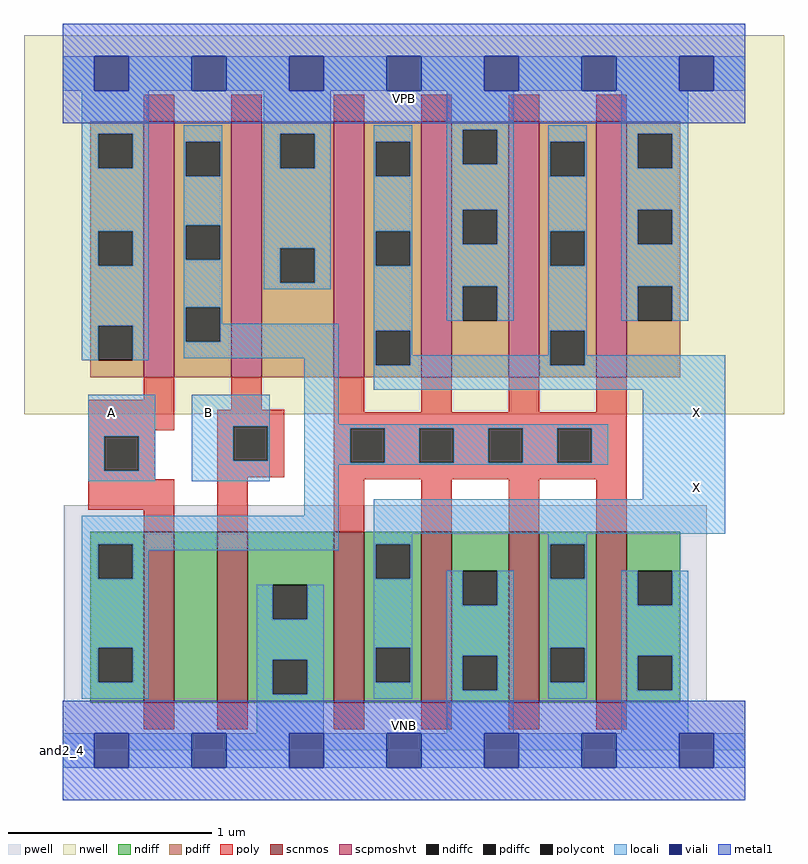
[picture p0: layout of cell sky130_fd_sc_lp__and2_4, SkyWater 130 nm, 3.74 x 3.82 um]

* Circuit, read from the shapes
.subckt sky130_fd_sc_lp__and2_4 A B VGND VNB VPB VPWR X
XM1 n1 A n2 VNB sky130_fd_pr__nfet_01v8 w=0.84 l=0.15
XM2 VGND B n1 VNB sky130_fd_pr__nfet_01v8 w=0.84 l=0.15
XM3 X n2 VGND VNB sky130_fd_pr__nfet_01v8 w=0.84 l=0.15 m=4
XM4 n2 A VPWR VPB sky130_fd_pr__pfet_01v8_hvt w=1.26 l=0.15
XM5 VPWR B n2 VPB sky130_fd_pr__pfet_01v8_hvt w=1.26 l=0.15
XM6 X n2 VPWR VPB sky130_fd_pr__pfet_01v8_hvt w=1.26 l=0.15 m=4
.ends

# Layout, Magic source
magic
tech sky130A
magscale 1 2
<< nwell >>
rect -38 331 710 704
<< pwell >>
rect 1 49 634 241
rect 0 0 672 49
<< scnmos >>
rect 80 47 110 215
rect 152 47 182 215
rect 267 47 297 215
rect 353 47 383 215
rect 439 47 469 215
rect 525 47 555 215
<< scpmoshvt >>
rect 80 367 110 619
rect 166 367 196 619
rect 267 367 297 619
rect 353 367 383 619
rect 439 367 469 619
rect 525 367 555 619
<< ndiff >>
rect 27 203 80 215
rect 27 169 35 203
rect 69 169 80 203
rect 27 101 80 169
rect 27 67 35 101
rect 69 67 80 101
rect 27 47 80 67
rect 110 47 152 215
rect 182 163 267 215
rect 182 129 207 163
rect 241 129 267 163
rect 182 89 267 129
rect 182 55 207 89
rect 241 55 267 89
rect 182 47 267 55
rect 297 203 353 215
rect 297 169 308 203
rect 342 169 353 203
rect 297 101 353 169
rect 297 67 308 101
rect 342 67 353 101
rect 297 47 353 67
rect 383 177 439 215
rect 383 143 394 177
rect 428 143 439 177
rect 383 93 439 143
rect 383 59 394 93
rect 428 59 439 93
rect 383 47 439 59
rect 469 203 525 215
rect 469 169 480 203
rect 514 169 525 203
rect 469 101 525 169
rect 469 67 480 101
rect 514 67 525 101
rect 469 47 525 67
rect 555 177 608 215
rect 555 143 566 177
rect 600 143 608 177
rect 555 93 608 143
rect 555 59 566 93
rect 600 59 608 93
rect 555 47 608 59
<< pdiff >>
rect 27 607 80 619
rect 27 573 35 607
rect 69 573 80 607
rect 27 511 80 573
rect 27 477 35 511
rect 69 477 80 511
rect 27 418 80 477
rect 27 384 35 418
rect 69 384 80 418
rect 27 367 80 384
rect 110 599 166 619
rect 110 565 121 599
rect 155 565 166 599
rect 110 517 166 565
rect 110 483 121 517
rect 155 483 166 517
rect 110 436 166 483
rect 110 402 121 436
rect 155 402 166 436
rect 110 367 166 402
rect 196 607 267 619
rect 196 573 214 607
rect 248 573 267 607
rect 196 494 267 573
rect 196 460 214 494
rect 248 460 267 494
rect 196 367 267 460
rect 297 599 353 619
rect 297 565 308 599
rect 342 565 353 599
rect 297 511 353 565
rect 297 477 308 511
rect 342 477 353 511
rect 297 413 353 477
rect 297 379 308 413
rect 342 379 353 413
rect 297 367 353 379
rect 383 611 439 619
rect 383 577 394 611
rect 428 577 439 611
rect 383 532 439 577
rect 383 498 394 532
rect 428 498 439 532
rect 383 457 439 498
rect 383 423 394 457
rect 428 423 439 457
rect 383 367 439 423
rect 469 599 525 619
rect 469 565 480 599
rect 514 565 525 599
rect 469 511 525 565
rect 469 477 480 511
rect 514 477 525 511
rect 469 413 525 477
rect 469 379 480 413
rect 514 379 525 413
rect 469 367 525 379
rect 555 607 608 619
rect 555 573 566 607
rect 600 573 608 607
rect 555 532 608 573
rect 555 498 566 532
rect 600 498 608 532
rect 555 457 608 498
rect 555 423 566 457
rect 600 423 608 457
rect 555 367 608 423
<< ndiffc >>
rect 35 169 69 203
rect 35 67 69 101
rect 207 129 241 163
rect 207 55 241 89
rect 308 169 342 203
rect 308 67 342 101
rect 394 143 428 177
rect 394 59 428 93
rect 480 169 514 203
rect 480 67 514 101
rect 566 143 600 177
rect 566 59 600 93
<< pdiffc >>
rect 35 573 69 607
rect 35 477 69 511
rect 35 384 69 418
rect 121 565 155 599
rect 121 483 155 517
rect 121 402 155 436
rect 214 573 248 607
rect 214 460 248 494
rect 308 565 342 599
rect 308 477 342 511
rect 308 379 342 413
rect 394 577 428 611
rect 394 498 428 532
rect 394 423 428 457
rect 480 565 514 599
rect 480 477 514 511
rect 480 379 514 413
rect 566 573 600 607
rect 566 498 600 532
rect 566 423 600 457
<< poly >>
rect 80 619 110 645
rect 166 619 196 645
rect 267 619 297 645
rect 353 619 383 645
rect 439 619 469 645
rect 525 619 555 645
rect 80 345 110 367
rect 25 315 110 345
rect 166 335 196 367
rect 152 319 218 335
rect 25 309 91 315
rect 25 275 41 309
rect 75 275 91 309
rect 25 267 91 275
rect 152 285 168 319
rect 202 285 218 319
rect 152 269 218 285
rect 267 333 297 367
rect 353 333 383 367
rect 439 333 469 367
rect 525 333 555 367
rect 267 317 555 333
rect 267 283 283 317
rect 317 283 351 317
rect 385 283 419 317
rect 453 283 487 317
rect 521 283 555 317
rect 25 237 110 267
rect 80 215 110 237
rect 152 215 182 269
rect 267 267 555 283
rect 267 215 297 267
rect 353 215 383 267
rect 439 215 469 267
rect 525 215 555 267
rect 80 21 110 47
rect 152 21 182 47
rect 267 21 297 47
rect 353 21 383 47
rect 439 21 469 47
rect 525 21 555 47
<< polycont >>
rect 41 275 75 309
rect 168 285 202 319
rect 283 283 317 317
rect 351 283 385 317
rect 419 283 453 317
rect 487 283 521 317
<< locali >>
rect 0 649 31 683
rect 65 649 127 683
rect 161 649 223 683
rect 257 649 319 683
rect 353 649 415 683
rect 449 649 511 683
rect 545 649 607 683
rect 641 649 672 683
rect 19 607 85 649
rect 19 573 35 607
rect 69 573 85 607
rect 19 511 85 573
rect 19 477 35 511
rect 69 477 85 511
rect 19 418 85 477
rect 19 384 35 418
rect 69 384 85 418
rect 119 599 157 615
rect 119 565 121 599
rect 155 565 157 599
rect 119 517 157 565
rect 119 483 121 517
rect 155 483 157 517
rect 119 436 157 483
rect 198 607 264 649
rect 198 573 214 607
rect 248 573 264 607
rect 198 494 264 573
rect 198 460 214 494
rect 248 460 264 494
rect 198 454 264 460
rect 306 599 344 615
rect 306 565 308 599
rect 342 565 344 599
rect 306 511 344 565
rect 306 477 308 511
rect 342 477 344 511
rect 119 402 121 436
rect 155 420 157 436
rect 155 402 272 420
rect 119 386 272 402
rect 25 309 91 350
rect 25 275 41 309
rect 75 275 91 309
rect 25 265 91 275
rect 127 319 204 350
rect 127 285 168 319
rect 202 285 204 319
rect 127 265 204 285
rect 238 321 272 386
rect 306 413 344 477
rect 378 611 444 649
rect 378 577 394 611
rect 428 577 444 611
rect 378 532 444 577
rect 378 498 394 532
rect 428 498 444 532
rect 378 457 444 498
rect 378 423 394 457
rect 428 423 444 457
rect 478 599 516 615
rect 478 565 480 599
rect 514 565 516 599
rect 478 511 516 565
rect 478 477 480 511
rect 514 477 516 511
rect 306 379 308 413
rect 342 389 344 413
rect 478 413 516 477
rect 550 607 616 649
rect 550 573 566 607
rect 600 573 616 607
rect 550 532 616 573
rect 550 498 566 532
rect 600 498 616 532
rect 550 457 616 498
rect 550 423 566 457
rect 600 423 616 457
rect 478 389 480 413
rect 342 379 480 389
rect 514 389 516 413
rect 514 379 652 389
rect 306 355 652 379
rect 238 317 537 321
rect 238 283 283 317
rect 317 283 351 317
rect 385 283 419 317
rect 453 283 487 317
rect 521 283 537 317
rect 238 281 537 283
rect 238 231 272 281
rect 571 247 652 355
rect 19 203 272 231
rect 19 169 35 203
rect 69 197 272 203
rect 306 213 652 247
rect 306 203 344 213
rect 69 169 85 197
rect 19 101 85 169
rect 306 169 308 203
rect 342 169 344 203
rect 478 203 516 213
rect 19 67 35 101
rect 69 67 85 101
rect 19 51 85 67
rect 191 129 207 163
rect 241 129 257 163
rect 191 89 257 129
rect 191 55 207 89
rect 241 55 257 89
rect 191 17 257 55
rect 306 101 344 169
rect 306 67 308 101
rect 342 67 344 101
rect 306 51 344 67
rect 378 143 394 177
rect 428 143 444 177
rect 378 93 444 143
rect 378 59 394 93
rect 428 59 444 93
rect 378 17 444 59
rect 478 169 480 203
rect 514 169 516 203
rect 478 101 516 169
rect 478 67 480 101
rect 514 67 516 101
rect 478 51 516 67
rect 550 143 566 177
rect 600 143 616 177
rect 550 93 616 143
rect 550 59 566 93
rect 600 59 616 93
rect 550 17 616 59
rect 0 -17 31 17
rect 65 -17 127 17
rect 161 -17 223 17
rect 257 -17 319 17
rect 353 -17 415 17
rect 449 -17 511 17
rect 545 -17 607 17
rect 641 -17 672 17
<< viali >>
rect 31 649 65 683
rect 127 649 161 683
rect 223 649 257 683
rect 319 649 353 683
rect 415 649 449 683
rect 511 649 545 683
rect 607 649 641 683
rect 31 -17 65 17
rect 127 -17 161 17
rect 223 -17 257 17
rect 319 -17 353 17
rect 415 -17 449 17
rect 511 -17 545 17
rect 607 -17 641 17
<< metal1 >>
rect 0 683 672 715
rect 0 649 31 683
rect 65 649 127 683
rect 161 649 223 683
rect 257 649 319 683
rect 353 649 415 683
rect 449 649 511 683
rect 545 649 607 683
rect 641 649 672 683
rect 0 617 672 649
rect 0 17 672 49
rect 0 -17 31 17
rect 65 -17 127 17
rect 161 -17 223 17
rect 257 -17 319 17
rect 353 -17 415 17
rect 449 -17 511 17
rect 545 -17 607 17
rect 641 -17 672 17
rect 0 -49 672 -17
<< labels >>
flabel pwell s 0 0 672 49 0 FreeSans 200 0 0 0 VNB
port 4 nsew ground bidirectional
flabel nwell s 0 617 672 666 0 FreeSans 200 0 0 0 VPB
port 5 nsew power bidirectional
rlabel comment s 0 0 0 0 4 and2_4
flabel metal1 s 0 617 672 666 0 FreeSans 340 0 0 0 VPWR
port 6 nsew power bidirectional
flabel metal1 s 0 0 672 49 0 FreeSans 340 0 0 0 VGND
port 3 nsew ground bidirectional
flabel locali s 31 316 65 350 0 FreeSans 340 0 0 0 A
port 1 nsew signal input
flabel locali s 127 316 161 350 0 FreeSans 340 0 0 0 B
port 2 nsew signal input
flabel locali s 607 242 641 276 0 FreeSans 340 0 0 0 X
port 7 nsew signal output
flabel locali s 607 316 641 350 0 FreeSans 340 0 0 0 X
port 7 nsew signal output
<< properties >>
string LEFsite unit
string LEFclass CORE
string FIXED_BBOX 0 0 672 666
string GDS_FILE $PDKPATH/libs.ref/sky130_fd_sc_lp/gds/sky130_fd_sc_lp.gds
string LEFsymmetry X Y R90
string GDS_END 3532380
string GDS_START 3525880
<< end >>
